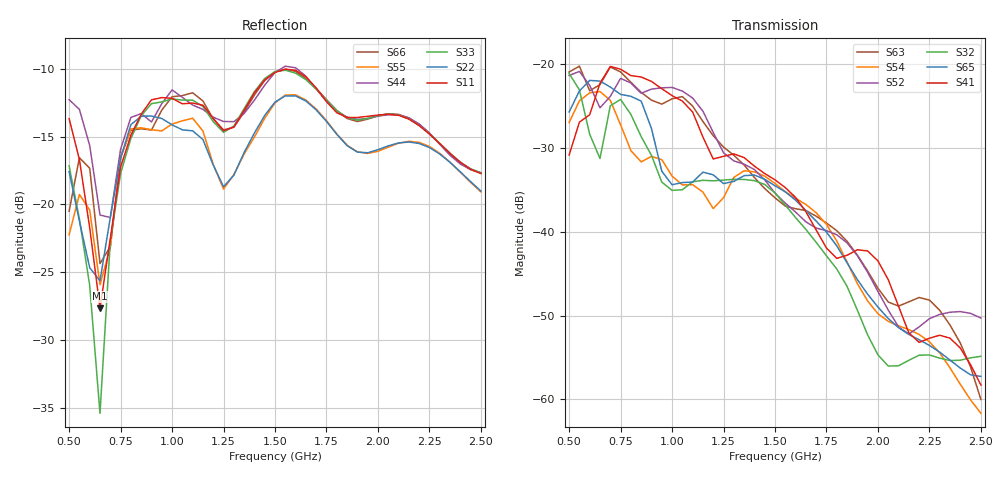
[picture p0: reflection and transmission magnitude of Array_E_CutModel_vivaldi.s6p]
! Touchstone file exported from HFSS 2023.2.0
!  File:  C:/Users/aapoi/Documents/Escuela/Maestria/EMT/HFSS/Array_E_CutModel_vivaldi.aedt
!  Generated:  12:43:40 PM  Aug 18, 2025
!  Design:  HFSSDesign1
!  Project:  Array_E_CutModel_vivaldi
!  Setup:  Setup1
!  Solution:  Sweep
! Variables:
!  $Bladder_Full_X_Shift = 2.5cm
!  $Bladder_Full_Z_Shift = 3cm
!  $Bladder_shift_from_PB = 35mm
!  $Pubic_Bone_Angle = 55deg
!  $ant_bottom_shift = 25mm
!  $ant_rot = 18.5deg
!  $ant_spacing = 20mm
!  $ant_sweep_shift = 5mm
!  $anteposterior_diameter = 10.49cm
!  $axial_bladder_diam = 44mm
!  $back_pelvic_bone_height = 0.1125meter
!  $back_pelvic_bone_rectangle_Xshift = 64.3578981445632mm
!  $backset = 0mm
!  $bladder_wall_thickness = 3.15mm
!  $body_axial_ratio = 1.59973110444618
!  $body_major_rad = 10.6361cm
!  $body_minor_rad = 17.0149cm
!  $center_bladder_rad = 0.073838504391812meter
!  $coccyx_thickness = -15.5mm
!  $coccyx_tip_width = 10mm
!  $cone_angle_sacrococcyx = 33.56deg
!  $coronal_bladder_diam = 37mm
!  $end_u = 450deg
!  $end_v = 270deg
!  $fat_thickness = 13.5031018554368mm
!  $front_pelvic_bone_height = 55mm
!  $horizontal_shift = 40mm
!  $horizontal_spacing = 50mm
!  $mix_major_rad = 0.0808578981445632meter
!  $model_height = 0.15meter
!  $muscle_thickness = 0.01meter
!  $pelvis_angle = 55deg
!  $pubic_bone_thickness = 16.5mm
!  $rad_curve_back_bones = 89.2mm
!  $sacrum_top_width = 88mm
!  $sagittal_bladder_diam = 35mm
!  $side_ant_offset = -5.44mm
!  $skin_thickness = 0.002meter
!  $start_u = 90deg
!  $start_v = 90deg
!  $striaght_sacrococcyx_length = 126mm
!  $transverse_diameter = 13cm
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# GHz S MA R 50.000000
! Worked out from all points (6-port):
!   41 points, 500 MHz to 2.5 GHz, reference 50 ohm
!   strongest paths, dB at 500 MHz, 1 GHz, 1.5 GHz, 2 GHz, 2.5 GHz:
!     S41: -30.9, -23.8, -33.8, -43.5, -58.3
!     S65: -25.7, -34.4, -34.5, -49.0, -57.3
!     S32: -21.2, -35.1, -35.4, -54.7, -54.9
!     S52: -21.4, -22.8, -35.4, -47.1, -50.3
!     S54: -27.0, -33.4, -34.3, -49.8, -61.7
!     S63: -21.0, -24.2, -36.0, -46.7, -60.0
!   lowest |S11| = -27.6 dB at 650 MHz (marker M1), VSWR 1.09, Z = 46.4 + j1.71 ohm
!   |S11| at or under -10 dB: start of sweep to end of sweep
